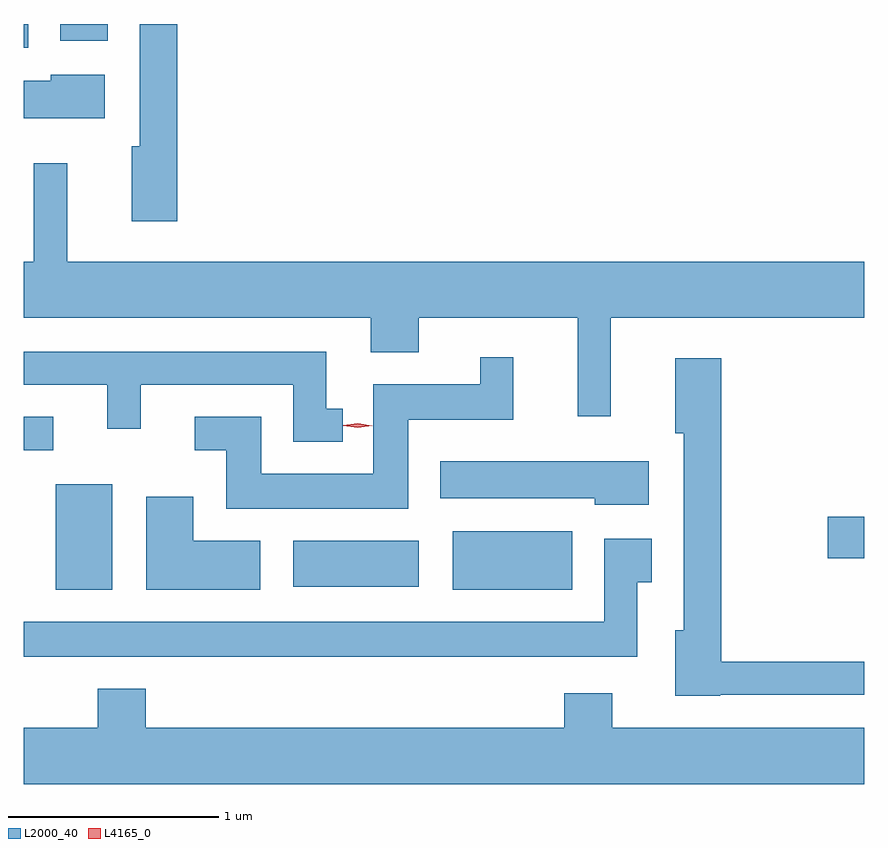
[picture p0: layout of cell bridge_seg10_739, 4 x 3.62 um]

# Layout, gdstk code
import gdstk
lib = gdstk.Library(unit=1e-6, precision=1e-09)
def R(c, l, rs):  # rectangles x0, y0, x1, y1
    for r in rs: c.add(gdstk.rectangle(r[:2], r[2:], *l))
def P(c, l, *ps):  # polygons
    for p in ps: c.add(gdstk.Polygon(p, *l))
L2000_40 = (2000, 40)
L4165_0 = (4165, 0)

bridge_seg10_739 = lib.new_cell('bridge_seg10_739')
R(bridge_seg10_739, L2000_40, [(600.091,2148.141,600.359,2148.644), (601.981,2148.141,602.549,2148.419), (601.221,2148.156,601.819,2148.374), (603.766,2148.291,603.939,2148.489), (599.939,2148.806,600.078,2148.964), (599.939,2150.721,599.959,2150.835), (600.111,2150.756,600.339,2150.835)])
P(bridge_seg10_739, L2000_40, [(600.669,2150.835),(600.491,2150.835),(600.491,2150.254),(600.451,2150.254),(600.451,2149.896),(600.669,2149.896)],
  [(600.324,2150.594),(600.066,2150.594),(600.066,2150.564),(599.939,2150.564),(599.939,2150.386),(600.324,2150.386)],
  [(602.734,2149.436),(603.939,2149.436),(603.939,2149.704),(600.144,2149.704),(600.144,2150.173),(599.986,2150.173),(599.986,2149.704),(599.939,2149.704),(599.939,2149.436),(601.591,2149.436),(601.591,2149.271),(601.819,2149.271),(601.819,2149.436),(602.576,2149.436),(602.576,2148.968),(602.734,2148.968)],
  [(601.458,2149.004),(601.379,2149.004),(601.379,2149.274),(599.939,2149.274),(599.939,2149.116),(600.336,2149.116),(600.336,2148.908),(600.494,2148.908),(600.494,2149.116),(601.221,2149.116),(601.221,2148.846),(601.458,2148.846)],
  [(601.769,2148.951),(602.269,2148.951),(602.269,2149.248),(602.111,2149.248),(602.111,2149.119),(601.601,2149.119),(601.601,2148.694),(601.069,2148.694),(601.069,2148.964),(600.753,2148.964),(600.753,2148.806),(600.901,2148.806),(600.901,2148.526),(601.769,2148.526)],
  [(603.255,2147.641),(603.939,2147.641),(603.939,2147.799),(603.259,2147.799),(603.259,2149.244),(603.041,2149.244),(603.041,2148.886),(603.081,2148.886),(603.081,2147.949),(603.041,2147.949),(603.041,2147.636),(603.255,2147.636)],
  [(602.914,2148.754),(601.921,2148.754),(601.921,2148.576),(602.656,2148.576),(602.656,2148.546),(602.914,2148.546)],
  [(601.064,2148.374),(600.744,2148.374),(600.744,2148.584),(600.521,2148.584),(600.521,2148.141),(601.064,2148.141)],
  [(602.859,2148.176),(602.929,2148.176),(602.929,2148.384),(602.701,2148.384),(602.701,2147.989),(599.939,2147.989),(599.939,2147.821),(602.859,2147.821)],
  [(603.939,2147.484),(602.739,2147.484),(602.739,2147.649),(602.511,2147.649),(602.511,2147.484),(600.519,2147.484),(600.519,2147.669),(600.291,2147.669),(600.291,2147.484),(599.939,2147.484),(599.939,2147.216),(603.939,2147.216)])
P(bridge_seg10_739, L4165_0, [(601.528,2148.913),(601.459,2148.923),(601.459,2148.923),(601.459,2148.924),(601.528,2148.933),(601.598,2148.923),(601.598,2148.923),(601.598,2148.922)])

lib.write_gds('bridge_seg10_739.gds')
